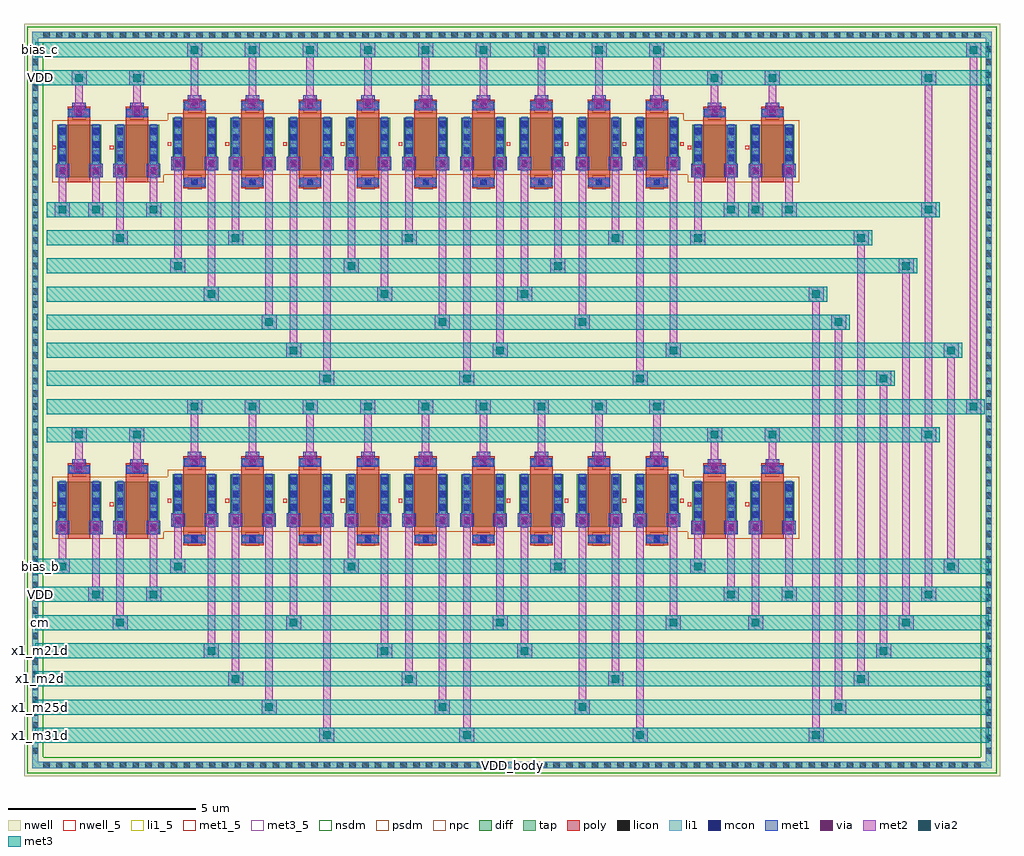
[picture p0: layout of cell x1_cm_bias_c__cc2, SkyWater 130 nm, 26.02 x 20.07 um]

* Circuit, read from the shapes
.subckt x1_cm_bias_c__cc2 VDD VDD_body bias_b bias_c cm x1_m21d x1_m25d x1_m2d x1_m31d
XM1 VDD VDD bias_b VDD_body sky130_fd_pr__pfet_01v8 w=1.4 l=0.6 m=2
XM2 VDD VDD VDD VDD_body sky130_fd_pr__pfet_01v8 w=1.4 l=0.6 m=2
XM3 VDD VDD cm VDD_body sky130_fd_pr__pfet_01v8 w=1.4 l=0.6 m=2
XM4 VDD VDD x1_m2d VDD_body sky130_fd_pr__pfet_01v8 w=1.4 l=0.6 m=2
XM5 x1_m21d bias_c bias_b VDD_body sky130_fd_pr__pfet_01v8 w=1.4 l=0.6 m=6
XM6 x1_m31d bias_c cm VDD_body sky130_fd_pr__pfet_01v8 w=1.4 l=0.6 m=6
XM7 x1_m25d bias_c x1_m2d VDD_body sky130_fd_pr__pfet_01v8 w=1.4 l=0.6 m=6
.ends

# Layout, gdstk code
from math import pi, radians
import gdstk
lib = gdstk.Library(unit=1e-6, precision=1e-09)
def R(c, l, rs):  # rectangles x0, y0, x1, y1
    for r in rs: c.add(gdstk.rectangle(r[:2], r[2:], *l))
def A(c, l, x, y, w, h, nx, ny, dx, dy):  # array of equal rectangles
    R(c, l, [(x+i*dx, y+j*dy, x+i*dx+w, y+j*dy+h) for i in range(nx) for j in range(ny)])
nwell_5 = (64, 5)
nwell = (64, 20)
diff = (65, 20)
tap = (65, 44)
poly = (66, 20)
licon = (66, 44)
li1_5 = (67, 5)
li1 = (67, 20)
mcon = (67, 44)
met1_5 = (68, 5)
met1 = (68, 20)
via = (68, 44)
met2 = (69, 20)
via2 = (69, 44)
met3_5 = (70, 5)
met3 = (70, 20)
nsdm = (93, 44)
psdm = (94, 20)
npc = (95, 20)

sky130_fd_pr__pfet_01v8_ = lib.new_cell('sky130_fd_pr__pfet_01v8_7A4LUF')
R(sky130_fd_pr__pfet_01v8_, nwell, [(-0.77,-1.19,0.77,1.02)])
R(sky130_fd_pr__pfet_01v8_, diff, [(-0.59,-0.88,0.59,0.52)])
R(sky130_fd_pr__pfet_01v8_, poly, [(-0.3,-1.01,0.3,1.005)])
A(sky130_fd_pr__pfet_01v8_, licon, -0.53, -0.775, 0.17, 0.17, 1, 4, 0, 0.34)
A(sky130_fd_pr__pfet_01v8_, licon, 0.36, -0.775, 0.17, 0.17, 1, 4, 0, 0.34)
R(sky130_fd_pr__pfet_01v8_, licon, [(-0.085,0.755,0.085,0.925)])
R(sky130_fd_pr__pfet_01v8_, li1, [(-0.53,-0.9,-0.36,0.54), (0.36,-0.9,0.53,0.54), (-0.3,0.755,0.3,0.925)])
A(sky130_fd_pr__pfet_01v8_, mcon, -0.53, -0.805, 0.17, 0.17, 1, 4, 0, 0.36)
A(sky130_fd_pr__pfet_01v8_, mcon, 0.36, -0.805, 0.17, 0.17, 1, 4, 0, 0.36)
R(sky130_fd_pr__pfet_01v8_, mcon, [(-0.085,0.755,0.085,0.925)])
R(sky130_fd_pr__pfet_01v8_, met1, [(-0.56,-0.88,-0.33,0.52), (0.33,-0.88,0.56,0.52), (-0.28,0.725,0.28,0.955)])
R(sky130_fd_pr__pfet_01v8_, psdm, [(-0.715,-1.005,0.715,0.645)])
R(sky130_fd_pr__pfet_01v8_, npc, [(-0.185,0.655,0.185,1.025)])
sky130_fd_pr__pfet_01v8_.add(gdstk.Label('D', (-0.445,-0.18), layer=67, texttype=5))
sky130_fd_pr__pfet_01v8_.add(gdstk.Label('S', (0.445,-0.18), layer=67, texttype=5))
sky130_fd_pr__pfet_01v8_.add(gdstk.Label('G', (0,0.84), layer=67, texttype=5))

pfet_01v8_w1p4_l0p6_m2__ = lib.new_cell('pfet_01v8_W1p4_L0p6_m2__nf1_gtop_sdfull_ng')
R(pfet_01v8_w1p4_l0p6_m2__, nwell_5, [(0.05,1.055,0.15,1.155)])
R(pfet_01v8_w1p4_l0p6_m2__, nwell, [(0.05,1.055,0.15,1.155)])
R(pfet_01v8_w1p4_l0p6_m2__, met1_5, [(0.21,1.01,0.44,1.21), (1.1,1.01,1.33,1.21), (0.49,1.915,1.05,2.145)])
R(pfet_01v8_w1p4_l0p6_m2__, met1, [(0.21,1.01,0.44,1.21), (1.1,1.01,1.33,1.21), (0.49,1.915,1.05,2.145)])
pfet_01v8_w1p4_l0p6_m2__.add(gdstk.Reference(sky130_fd_pr__pfet_01v8_, (0.77,1.19)))
pfet_01v8_w1p4_l0p6_m2__.add(gdstk.Label('D', (0.325,1.11), layer=68, texttype=5))
pfet_01v8_w1p4_l0p6_m2__.add(gdstk.Label('S', (1.215,1.11), layer=68, texttype=5))
pfet_01v8_w1p4_l0p6_m2__.add(gdstk.Label('G', (0.77,2.03), layer=68, texttype=5))
pfet_01v8_w1p4_l0p6_m2__.add(gdstk.Label('B', (0.1,1.105), layer=64, texttype=5))

c_sky130_fd_pr__pfet_01v8_ = lib.new_cell('sky130_fd_pr__pfet_01v8_RGDEC8')
R(c_sky130_fd_pr__pfet_01v8_, nwell, [(-0.77,-1.2,0.77,1.2)])
R(c_sky130_fd_pr__pfet_01v8_, diff, [(-0.59,-0.7,0.59,0.7)])
R(c_sky130_fd_pr__pfet_01v8_, poly, [(-0.3,-1.185,0.3,1.185)])
A(c_sky130_fd_pr__pfet_01v8_, licon, -0.53, -0.595, 0.17, 0.17, 1, 4, 0, 0.34)
A(c_sky130_fd_pr__pfet_01v8_, licon, 0.36, -0.595, 0.17, 0.17, 1, 4, 0, 0.34)
R(c_sky130_fd_pr__pfet_01v8_, licon, [(-0.085,-1.105,0.085,-0.935), (-0.085,0.935,0.085,1.105)])
R(c_sky130_fd_pr__pfet_01v8_, li1, [(-0.3,-1.105,0.3,-0.935), (-0.53,-0.72,-0.36,0.72), (0.36,-0.72,0.53,0.72), (-0.3,0.935,0.3,1.105)])
A(c_sky130_fd_pr__pfet_01v8_, mcon, -0.53, -0.625, 0.17, 0.17, 1, 4, 0, 0.36)
A(c_sky130_fd_pr__pfet_01v8_, mcon, 0.36, -0.625, 0.17, 0.17, 1, 4, 0, 0.36)
R(c_sky130_fd_pr__pfet_01v8_, mcon, [(-0.085,-1.105,0.085,-0.935), (-0.085,0.935,0.085,1.105)])
R(c_sky130_fd_pr__pfet_01v8_, met1, [(-0.28,-1.135,0.28,-0.905), (-0.56,-0.7,-0.33,0.7), (0.33,-0.7,0.56,0.7), (-0.28,0.905,0.28,1.135)])
R(c_sky130_fd_pr__pfet_01v8_, psdm, [(-0.715,-0.825,0.715,0.825)])
R(c_sky130_fd_pr__pfet_01v8_, npc, [(-0.185,-1.205,0.185,-0.835), (-0.185,0.835,0.185,1.205)])
c_sky130_fd_pr__pfet_01v8_.add(gdstk.Label('D', (-0.445,0), layer=67, texttype=5))
c_sky130_fd_pr__pfet_01v8_.add(gdstk.Label('S', (0.445,0), layer=67, texttype=5))
c_sky130_fd_pr__pfet_01v8_.add(gdstk.Label('G', (0,1.02), layer=67, texttype=5))

pfet_01v8_w1p4_l0p6_m6__ = lib.new_cell('pfet_01v8_W1p4_L0p6_m6__nf1_gboth_sdfull_ng')
R(pfet_01v8_w1p4_l0p6_m6__, nwell_5, [(0.05,1.15,0.15,1.25)])
R(pfet_01v8_w1p4_l0p6_m6__, nwell, [(0.05,1.15,0.15,1.25)])
R(pfet_01v8_w1p4_l0p6_m6__, met1_5, [(0.21,1.2,0.44,1.4), (1.1,1.2,1.33,1.4), (0.49,2.105,1.05,2.335)])
R(pfet_01v8_w1p4_l0p6_m6__, met1, [(0.21,1.2,0.44,1.4), (1.1,1.2,1.33,1.4), (0.49,2.105,1.05,2.335)])
pfet_01v8_w1p4_l0p6_m6__.add(gdstk.Reference(c_sky130_fd_pr__pfet_01v8_, (0.77,1.2)))
pfet_01v8_w1p4_l0p6_m6__.add(gdstk.Label('D', (0.325,1.3), layer=68, texttype=5))
pfet_01v8_w1p4_l0p6_m6__.add(gdstk.Label('S', (1.215,1.3), layer=68, texttype=5))
pfet_01v8_w1p4_l0p6_m6__.add(gdstk.Label('G', (0.77,2.22), layer=68, texttype=5))
pfet_01v8_w1p4_l0p6_m6__.add(gdstk.Label('B', (0.1,1.2), layer=64, texttype=5))

x1_cm_bias_c__cc2 = lib.new_cell('x1_cm_bias_c__cc2')
R(x1_cm_bias_c__cc2, nwell, [(-0.7,-6.15,25.32,13.92)])
R(x1_cm_bias_c__cc2, tap, [(-0.485,-5.935,25.105,-5.765), (-0.485,-5.765,-0.315,13.535), (24.935,-5.765,25.105,13.535), (-0.485,13.535,25.105,13.705)])
A(x1_cm_bias_c__cc2, licon, -0.185, -5.935, 0.17, 0.17, 74, 2, 0.34, 19.47)
A(x1_cm_bias_c__cc2, licon, -0.485, -5.55, 0.17, 0.17, 1, 56, 0, 0.34)
A(x1_cm_bias_c__cc2, licon, 24.935, -5.55, 0.17, 0.17, 1, 56, 0, 0.34)
R(x1_cm_bias_c__cc2, li1_5, [(12.26,-5.9,12.36,-5.8)])
R(x1_cm_bias_c__cc2, li1, [(-0.485,-5.935,25.105,-5.765), (-0.485,-5.765,-0.315,13.535), (24.935,-5.765,25.105,13.535), (-0.485,13.535,25.105,13.705)])
A(x1_cm_bias_c__cc2, met1, 3.67, 2.14, 0.36, 0.36, 9, 2, 1.54, 9.51)
R(x1_cm_bias_c__cc2, met1, [(0.145,0.31,0.505,0.67), (1.035,0.31,1.395,0.67), (1.685,0.31,2.045,0.67), (2.575,0.31,2.935,0.67), (17.085,0.31,17.445,0.67), (17.975,0.31,18.335,0.67), (18.625,0.31,18.985,0.67), (19.515,0.31,19.875,0.67), (3.225,0.505,3.585,0.865), (4.115,0.505,4.475,0.865), (4.765,0.505,5.125,0.865), (5.655,0.505,6.015,0.865), (6.305,0.505,6.665,0.865), (7.195,0.505,7.555,0.865), (7.845,0.505,8.205,0.865), (8.735,0.505,9.095,0.865), (9.385,0.505,9.745,0.865), (10.275,0.505,10.635,0.865), (10.925,0.505,11.285,0.865), (11.815,0.505,12.175,0.865), (12.465,0.505,12.825,0.865), (13.355,0.505,13.715,0.865), (14.005,0.505,14.365,0.865), (14.895,0.505,15.255,0.865), (15.545,0.505,15.905,0.865), (16.435,0.505,16.795,0.865), (0.59,1.945,0.95,2.305), (2.13,1.945,2.49,2.305), (17.53,1.945,17.89,2.305), (19.07,1.945,19.43,2.305), (0.145,9.82,0.505,10.18), (1.035,9.82,1.395,10.18), (1.685,9.82,2.045,10.18), (2.575,9.82,2.935,10.18), (17.085,9.82,17.445,10.18), (17.975,9.82,18.335,10.18), (18.625,9.82,18.985,10.18), (19.515,9.82,19.875,10.18), (3.225,10.015,3.585,10.375), (4.115,10.015,4.475,10.375), (4.765,10.015,5.125,10.375), (5.655,10.015,6.015,10.375), (6.305,10.015,6.665,10.375), (7.195,10.015,7.555,10.375), (7.845,10.015,8.205,10.375), (8.735,10.015,9.095,10.375), (9.385,10.015,9.745,10.375), (10.275,10.015,10.635,10.375), (10.925,10.015,11.285,10.375), (11.815,10.015,12.175,10.375), (12.465,10.015,12.825,10.375), (13.355,10.015,13.715,10.375), (14.005,10.015,14.365,10.375), (14.895,10.015,15.255,10.375), (15.545,10.015,15.905,10.375), (16.435,10.015,16.795,10.375), (0.59,11.455,0.95,11.815), (2.13,11.455,2.49,11.815), (17.53,11.455,17.89,11.815), (19.07,11.455,19.43,11.815)])
A(x1_cm_bias_c__cc2, via, 3.775, 2.245, 0.15, 0.15, 9, 2, 1.54, 9.51)
R(x1_cm_bias_c__cc2, via, [(0.25,0.415,0.4,0.565), (1.14,0.415,1.29,0.565), (1.79,0.415,1.94,0.565), (2.68,0.415,2.83,0.565), (17.19,0.415,17.34,0.565), (18.08,0.415,18.23,0.565), (18.73,0.415,18.88,0.565), (19.62,0.415,19.77,0.565), (3.33,0.61,3.48,0.76), (4.22,0.61,4.37,0.76), (4.87,0.61,5.02,0.76), (5.76,0.61,5.91,0.76), (6.41,0.61,6.56,0.76), (7.3,0.61,7.45,0.76), (7.95,0.61,8.1,0.76), (8.84,0.61,8.99,0.76), (9.49,0.61,9.64,0.76), (10.38,0.61,10.53,0.76), (11.03,0.61,11.18,0.76), (11.92,0.61,12.07,0.76), (12.57,0.61,12.72,0.76), (13.46,0.61,13.61,0.76), (14.11,0.61,14.26,0.76), (15,0.61,15.15,0.76), (15.65,0.61,15.8,0.76), (16.54,0.61,16.69,0.76), (0.695,2.05,0.845,2.2), (2.235,2.05,2.385,2.2), (17.635,2.05,17.785,2.2), (19.175,2.05,19.325,2.2), (0.25,9.925,0.4,10.075), (1.14,9.925,1.29,10.075), (1.79,9.925,1.94,10.075), (2.68,9.925,2.83,10.075), (17.19,9.925,17.34,10.075), (18.08,9.925,18.23,10.075), (18.73,9.925,18.88,10.075), (19.62,9.925,19.77,10.075), (3.33,10.12,3.48,10.27), (4.22,10.12,4.37,10.27), (4.87,10.12,5.02,10.27), (5.76,10.12,5.91,10.27), (6.41,10.12,6.56,10.27), (7.3,10.12,7.45,10.27), (7.95,10.12,8.1,10.27), (8.84,10.12,8.99,10.27), (9.49,10.12,9.64,10.27), (10.38,10.12,10.53,10.27), (11.03,10.12,11.18,10.27), (11.92,10.12,12.07,10.27), (12.57,10.12,12.72,10.27), (13.46,10.12,13.61,10.27), (14.11,10.12,14.26,10.27), (15,10.12,15.15,10.27), (15.65,10.12,15.8,10.27), (16.54,10.12,16.69,10.27), (0.695,11.56,0.845,11.71), (2.235,11.56,2.385,11.71), (17.635,11.56,17.785,11.71), (19.175,11.56,19.325,11.71)])
A(x1_cm_bias_c__cc2, met2, 3.72, 2.16, 0.26, 0.32, 9, 2, 1.54, 9.51)
A(x1_cm_bias_c__cc2, met2, 3.75, 2.48, 0.2, 1.03, 9, 2, 1.54, 9.51)
A(x1_cm_bias_c__cc2, met2, 3.65, 3.51, 0.4, 0.4, 9, 2, 1.54, 9.51)
R(x1_cm_bias_c__cc2, met2, [(7.175,-5.25,7.575,-4.85), (10.905,-5.25,11.305,-4.85), (15.525,-5.25,15.925,-4.85), (20.22,-5.25,20.62,-4.85), (7.275,-4.85,7.475,0.525), (11.005,-4.85,11.205,0.525), (15.625,-4.85,15.825,0.525), (20.32,-4.85,20.52,6.51), (5.635,-4.5,6.035,-4.1), (10.255,-4.5,10.655,-4.1), (13.985,-4.5,14.385,-4.1), (20.82,-4.5,21.22,-4.1), (5.735,-4.1,5.935,0.525), (10.355,-4.1,10.555,0.525), (14.085,-4.1,14.285,0.525), (20.92,-4.1,21.12,5.76), (4.745,-3.75,5.145,-3.35), (9.365,-3.75,9.765,-3.35), (14.875,-3.75,15.275,-3.35), (21.42,-3.75,21.82,-3.35), (4.845,-3.35,5.045,0.525), (9.465,-3.35,9.665,0.525), (14.975,-3.35,15.175,0.525), (21.52,-3.35,21.72,8.01), (4.095,-3,4.495,-2.6), (8.715,-3,9.115,-2.6), (12.445,-3,12.845,-2.6), (22.02,-3,22.42,-2.6), (4.195,-2.6,4.395,0.525), (8.815,-2.6,9.015,0.525), (12.545,-2.6,12.745,0.525), (22.12,-2.6,22.32,4.26), (1.665,-2.25,2.065,-1.85), (6.285,-2.25,6.685,-1.85), (11.795,-2.25,12.195,-1.85), (16.415,-2.25,16.815,-1.85), (18.605,-2.25,19.005,-1.85), (22.62,-2.25,23.02,-1.85), (1.765,-1.85,1.965,0.33), (6.385,-1.85,6.585,0.525), (11.895,-1.85,12.095,0.525), (16.515,-1.85,16.715,0.525), (18.705,-1.85,18.905,0.33), (22.72,-1.85,22.92,7.26), (1.015,-1.5,1.415,-1.1), (2.555,-1.5,2.955,-1.1), (17.955,-1.5,18.355,-1.1), (19.495,-1.5,19.895,-1.1), (23.22,-1.5,23.62,-1.1), (1.115,-1.1,1.315,0.33), (2.655,-1.1,2.855,0.33), (18.055,-1.1,18.255,0.33), (19.595,-1.1,19.795,0.33), (23.32,-1.1,23.52,2.76), (0.125,-0.75,0.525,-0.35), (3.205,-0.75,3.605,-0.35), (7.825,-0.75,8.225,-0.35), (13.335,-0.75,13.735,-0.35), (17.065,-0.75,17.465,-0.35), (23.82,-0.75,24.22,-0.35), (0.225,-0.35,0.425,0.33), (3.305,-0.35,3.505,0.525), (7.925,-0.35,8.125,0.525), (13.435,-0.35,13.635,0.525), (17.165,-0.35,17.365,0.33), (23.92,-0.35,24.12,5.01), (0.195,0.33,0.455,0.65), (1.085,0.33,1.345,0.65), (1.735,0.33,1.995,0.65), (2.625,0.33,2.885,0.65), (17.135,0.33,17.395,0.65), (18.025,0.33,18.285,0.65), (18.675,0.33,18.935,0.65), (19.565,0.33,19.825,0.65), (3.275,0.525,3.535,0.845), (4.165,0.525,4.425,0.845), (4.815,0.525,5.075,0.845), (5.705,0.525,5.965,0.845), (6.355,0.525,6.615,0.845), (7.245,0.525,7.505,0.845), (7.895,0.525,8.155,0.845), (8.785,0.525,9.045,0.845), (9.435,0.525,9.695,0.845), (10.325,0.525,10.585,0.845), (10.975,0.525,11.235,0.845), (11.865,0.525,12.125,0.845), (12.515,0.525,12.775,0.845), (13.405,0.525,13.665,0.845), (14.055,0.525,14.315,0.845), (14.945,0.525,15.205,0.845), (15.595,0.525,15.855,0.845), (16.485,0.525,16.745,0.845), (0.64,1.965,0.9,2.285), (2.18,1.965,2.44,2.285), (17.58,1.965,17.84,2.285), (19.12,1.965,19.38,2.285), (0.67,2.285,0.87,2.76), (2.21,2.285,2.41,2.76), (17.61,2.285,17.81,2.76), (19.15,2.285,19.35,2.76), (0.57,2.76,0.97,3.16), (2.11,2.76,2.51,3.16), (17.51,2.76,17.91,3.16), (19.05,2.76,19.45,3.16), (23.22,2.76,23.62,3.16), (23.32,3.16,23.52,8.76), (24.42,3.51,24.82,3.91), (24.52,3.91,24.72,13.02), (7.175,4.26,7.575,4.66), (10.905,4.26,11.305,4.66), (15.525,4.26,15.925,4.66), (22.02,4.26,22.42,4.66), (7.275,4.66,7.475,10.035), (11.005,4.66,11.205,10.035), (15.625,4.66,15.825,10.035), (6.285,5.01,6.685,5.41), (11.795,5.01,12.195,5.41), (16.415,5.01,16.815,5.41), (23.82,5.01,24.22,5.41), (6.385,5.41,6.585,10.035), (11.895,5.41,12.095,10.035), (16.515,5.41,16.715,10.035), (5.635,5.76,6.035,6.16), (10.255,5.76,10.655,6.16), (13.985,5.76,14.385,6.16), (20.82,5.76,21.22,6.16), (5.735,6.16,5.935,10.035), (10.355,6.16,10.555,10.035), (14.085,6.16,14.285,10.035), (4.095,6.51,4.495,6.91), (8.715,6.51,9.115,6.91), (12.445,6.51,12.845,6.91), (20.22,6.51,20.62,6.91), (4.195,6.91,4.395,10.035), (8.815,6.91,9.015,10.035), (12.545,6.91,12.745,10.035), (3.205,7.26,3.605,7.66), (7.825,7.26,8.225,7.66), (13.335,7.26,13.735,7.66), (22.62,7.26,23.02,7.66), (3.305,7.66,3.505,10.035), (7.925,7.66,8.125,10.035), (13.435,7.66,13.635,10.035), (1.665,8.01,2.065,8.41), (4.745,8.01,5.145,8.41), (9.365,8.01,9.765,8.41), (14.875,8.01,15.275,8.41), (17.065,8.01,17.465,8.41), (21.42,8.01,21.82,8.41), (1.765,8.41,1.965,9.84), (4.845,8.41,5.045,10.035), (9.465,8.41,9.665,10.035), (14.975,8.41,15.175,10.035), (17.165,8.41,17.365,9.84), (0.125,8.76,0.525,9.16), (1.015,8.76,1.415,9.16), (2.555,8.76,2.955,9.16), (17.955,8.76,18.355,9.16), (18.605,8.76,19.005,9.16), (19.495,8.76,19.895,9.16), (23.22,8.76,23.62,9.16), (0.225,9.16,0.425,9.84), (1.115,9.16,1.315,9.84), (2.655,9.16,2.855,9.84), (18.055,9.16,18.255,9.84), (18.705,9.16,18.905,9.84), (19.595,9.16,19.795,9.84), (23.32,9.16,23.52,12.27), (0.195,9.84,0.455,10.16), (1.085,9.84,1.345,10.16), (1.735,9.84,1.995,10.16), (2.625,9.84,2.885,10.16), (17.135,9.84,17.395,10.16), (18.025,9.84,18.285,10.16), (18.675,9.84,18.935,10.16), (19.565,9.84,19.825,10.16), (3.275,10.035,3.535,10.355), (4.165,10.035,4.425,10.355), (4.815,10.035,5.075,10.355), (5.705,10.035,5.965,10.355), (6.355,10.035,6.615,10.355), (7.245,10.035,7.505,10.355), (7.895,10.035,8.155,10.355), (8.785,10.035,9.045,10.355), (9.435,10.035,9.695,10.355), (10.325,10.035,10.585,10.355), (10.975,10.035,11.235,10.355), (11.865,10.035,12.125,10.355), (12.515,10.035,12.775,10.355), (13.405,10.035,13.665,10.355), (14.055,10.035,14.315,10.355), (14.945,10.035,15.205,10.355), (15.595,10.035,15.855,10.355), (16.485,10.035,16.745,10.355), (0.64,11.475,0.9,11.795), (2.18,11.475,2.44,11.795), (17.58,11.475,17.84,11.795), (19.12,11.475,19.38,11.795), (0.67,11.795,0.87,12.27), (2.21,11.795,2.41,12.27), (17.61,11.795,17.81,12.27), (19.15,11.795,19.35,12.27), (0.57,12.27,0.97,12.67), (2.11,12.27,2.51,12.67), (17.51,12.27,17.91,12.67), (19.05,12.27,19.45,12.67), (23.22,12.27,23.62,12.67), (24.42,13.02,24.82,13.42)])
A(x1_cm_bias_c__cc2, via2, 3.75, 3.61, 0.2, 0.2, 9, 2, 1.54, 9.51)
R(x1_cm_bias_c__cc2, via2, [(7.275,-5.15,7.475,-4.95), (11.005,-5.15,11.205,-4.95), (15.625,-5.15,15.825,-4.95), (20.32,-5.15,20.52,-4.95), (5.735,-4.4,5.935,-4.2), (10.355,-4.4,10.555,-4.2), (14.085,-4.4,14.285,-4.2), (20.92,-4.4,21.12,-4.2), (4.845,-3.65,5.045,-3.45), (9.465,-3.65,9.665,-3.45), (14.975,-3.65,15.175,-3.45), (21.52,-3.65,21.72,-3.45), (4.195,-2.9,4.395,-2.7), (8.815,-2.9,9.015,-2.7), (12.545,-2.9,12.745,-2.7), (22.12,-2.9,22.32,-2.7), (1.765,-2.15,1.965,-1.95), (6.385,-2.15,6.585,-1.95), (11.895,-2.15,12.095,-1.95), (16.515,-2.15,16.715,-1.95), (18.705,-2.15,18.905,-1.95), (22.72,-2.15,22.92,-1.95), (1.115,-1.4,1.315,-1.2), (2.655,-1.4,2.855,-1.2), (18.055,-1.4,18.255,-1.2), (19.595,-1.4,19.795,-1.2), (23.32,-1.4,23.52,-1.2), (0.225,-0.65,0.425,-0.45), (3.305,-0.65,3.505,-0.45), (7.925,-0.65,8.125,-0.45), (13.435,-0.65,13.635,-0.45), (17.165,-0.65,17.365,-0.45), (23.92,-0.65,24.12,-0.45), (0.67,2.86,0.87,3.06), (2.21,2.86,2.41,3.06), (17.61,2.86,17.81,3.06), (19.15,2.86,19.35,3.06), (23.32,2.86,23.52,3.06), (24.52,3.61,24.72,3.81), (7.275,4.36,7.475,4.56), (11.005,4.36,11.205,4.56), (15.625,4.36,15.825,4.56), (22.12,4.36,22.32,4.56), (6.385,5.11,6.585,5.31), (11.895,5.11,12.095,5.31), (16.515,5.11,16.715,5.31), (23.92,5.11,24.12,5.31), (5.735,5.86,5.935,6.06), (10.355,5.86,10.555,6.06), (14.085,5.86,14.285,6.06), (20.92,5.86,21.12,6.06), (4.195,6.61,4.395,6.81), (8.815,6.61,9.015,6.81), (12.545,6.61,12.745,6.81), (20.32,6.61,20.52,6.81), (3.305,7.36,3.505,7.56), (7.925,7.36,8.125,7.56), (13.435,7.36,13.635,7.56), (22.72,7.36,22.92,7.56), (1.765,8.11,1.965,8.31), (4.845,8.11,5.045,8.31), (9.465,8.11,9.665,8.31), (14.975,8.11,15.175,8.31), (17.165,8.11,17.365,8.31), (21.52,8.11,21.72,8.31), (0.225,8.86,0.425,9.06), (1.115,8.86,1.315,9.06), (2.655,8.86,2.855,9.06), (18.055,8.86,18.255,9.06), (18.705,8.86,18.905,9.06), (19.595,8.86,19.795,9.06), (23.32,8.86,23.52,9.06), (0.67,12.37,0.87,12.57), (2.21,12.37,2.41,12.57), (17.61,12.37,17.81,12.57), (19.15,12.37,19.35,12.57), (23.32,12.37,23.52,12.57), (24.52,13.12,24.72,13.32)])
A(x1_cm_bias_c__cc2, met3_5, -0.3, -5.1, 0.1, 0.1, 1, 7, 0, 0.75)
R(x1_cm_bias_c__cc2, met3_5, [(-0.3,12.42,-0.2,12.52), (-0.3,13.17,-0.2,13.27)])
A(x1_cm_bias_c__cc2, met3, -0.4, -5.25, 25.42, 0.4, 1, 7, 0, 0.75)
R(x1_cm_bias_c__cc2, met3, [(-0.1,2.76,23.72,3.16), (-0.1,3.51,24.92,3.91), (-0.1,4.26,22.52,4.66), (-0.1,5.01,24.32,5.41), (-0.1,5.76,21.32,6.16), (-0.1,6.51,20.72,6.91), (-0.1,7.26,23.12,7.66), (-0.1,8.01,21.92,8.41), (-0.1,8.76,23.72,9.16), (-0.4,12.27,25.02,12.67), (-0.4,13.02,25.02,13.42)])
R(x1_cm_bias_c__cc2, nsdm, [(-0.61,-6.06,25.23,-5.64), (-0.61,-5.64,-0.19,13.41), (24.81,-5.64,25.23,13.41), (-0.61,13.41,25.23,13.83)])
A(x1_cm_bias_c__cc2, psdm, 4.565, 0.375, 0.11, 1.65, 8, 2, 1.54, 9.51)
R(x1_cm_bias_c__cc2, psdm, [(1.485,0.185,1.595,1.835), (18.425,0.185,18.535,1.835), (3.025,0.375,3.135,1.835), (16.885,0.375,16.995,1.835), (1.485,9.695,1.595,11.345), (18.425,9.695,18.535,11.345), (3.025,9.885,3.135,11.345), (16.885,9.885,16.995,11.345)])
x1_cm_bias_c__cc2.add(gdstk.Reference(pfet_01v8_w1p4_l0p6_m2__, (18.48,9.51)))
x1_cm_bias_c__cc2.add(gdstk.Reference(pfet_01v8_w1p4_l0p6_m2__, (16.94,9.51)))
x1_cm_bias_c__cc2.add(gdstk.Reference(pfet_01v8_w1p4_l0p6_m6__, (16.94,9.51), rotation=pi, x_reflection=True))
x1_cm_bias_c__cc2.add(gdstk.Reference(pfet_01v8_w1p4_l0p6_m6__, (15.4,9.51), rotation=pi, x_reflection=True))
x1_cm_bias_c__cc2.add(gdstk.Reference(pfet_01v8_w1p4_l0p6_m6__, (13.86,9.51), rotation=pi, x_reflection=True))
x1_cm_bias_c__cc2.add(gdstk.Reference(pfet_01v8_w1p4_l0p6_m6__, (12.32,9.51), rotation=pi, x_reflection=True))
x1_cm_bias_c__cc2.add(gdstk.Reference(pfet_01v8_w1p4_l0p6_m6__, (9.24,9.51)))
x1_cm_bias_c__cc2.add(gdstk.Reference(pfet_01v8_w1p4_l0p6_m6__, (7.7,9.51)))
x1_cm_bias_c__cc2.add(gdstk.Reference(pfet_01v8_w1p4_l0p6_m6__, (6.16,9.51)))
x1_cm_bias_c__cc2.add(gdstk.Reference(pfet_01v8_w1p4_l0p6_m6__, (4.62,9.51)))
x1_cm_bias_c__cc2.add(gdstk.Reference(pfet_01v8_w1p4_l0p6_m6__, (3.08,9.51)))
x1_cm_bias_c__cc2.add(gdstk.Reference(pfet_01v8_w1p4_l0p6_m2__, (1.54,9.51)))
x1_cm_bias_c__cc2.add(gdstk.Reference(pfet_01v8_w1p4_l0p6_m2__, (0,9.51)))
x1_cm_bias_c__cc2.add(gdstk.Reference(pfet_01v8_w1p4_l0p6_m2__, (18.48,0)))
x1_cm_bias_c__cc2.add(gdstk.Reference(pfet_01v8_w1p4_l0p6_m2__, (16.94,0)))
x1_cm_bias_c__cc2.add(gdstk.Reference(pfet_01v8_w1p4_l0p6_m6__, (16.94,0), rotation=pi, x_reflection=True))
x1_cm_bias_c__cc2.add(gdstk.Reference(pfet_01v8_w1p4_l0p6_m6__, (15.4,0), rotation=pi, x_reflection=True))
x1_cm_bias_c__cc2.add(gdstk.Reference(pfet_01v8_w1p4_l0p6_m6__, (13.86,0), rotation=pi, x_reflection=True))
x1_cm_bias_c__cc2.add(gdstk.Reference(pfet_01v8_w1p4_l0p6_m6__, (12.32,0), rotation=pi, x_reflection=True))
x1_cm_bias_c__cc2.add(gdstk.Reference(pfet_01v8_w1p4_l0p6_m6__, (9.24,0)))
x1_cm_bias_c__cc2.add(gdstk.Reference(pfet_01v8_w1p4_l0p6_m6__, (7.7,0)))
x1_cm_bias_c__cc2.add(gdstk.Reference(pfet_01v8_w1p4_l0p6_m6__, (6.16,0)))
x1_cm_bias_c__cc2.add(gdstk.Reference(pfet_01v8_w1p4_l0p6_m6__, (4.62,0)))
x1_cm_bias_c__cc2.add(gdstk.Reference(pfet_01v8_w1p4_l0p6_m6__, (3.08,0)))
x1_cm_bias_c__cc2.add(gdstk.Reference(pfet_01v8_w1p4_l0p6_m2__, (1.54,0)))
x1_cm_bias_c__cc2.add(gdstk.Reference(pfet_01v8_w1p4_l0p6_m2__, (0,0)))
x1_cm_bias_c__cc2.add(gdstk.Label('VDD', (-0.25,12.47), layer=70, texttype=5))
x1_cm_bias_c__cc2.add(gdstk.Label('bias_c', (-0.25,13.22), layer=70, texttype=5))
x1_cm_bias_c__cc2.add(gdstk.Label('bias_b', (-0.25,-0.55), layer=70, texttype=5))
x1_cm_bias_c__cc2.add(gdstk.Label('VDD', (-0.25,-1.3), layer=70, texttype=5))
x1_cm_bias_c__cc2.add(gdstk.Label('cm', (-0.25,-2.05), layer=70, texttype=5))
x1_cm_bias_c__cc2.add(gdstk.Label('x1_m21d', (-0.25,-2.8), layer=70, texttype=5))
x1_cm_bias_c__cc2.add(gdstk.Label('x1_m2d', (-0.25,-3.55), layer=70, texttype=5))
x1_cm_bias_c__cc2.add(gdstk.Label('x1_m25d', (-0.25,-4.3), layer=70, texttype=5))
x1_cm_bias_c__cc2.add(gdstk.Label('x1_m31d', (-0.25,-5.05), layer=70, texttype=5))
x1_cm_bias_c__cc2.add(gdstk.Label('VDD_body', (12.31,-5.85), layer=67, texttype=5))

lib.write_gds('x1_cm_bias_c__cc2.gds')
